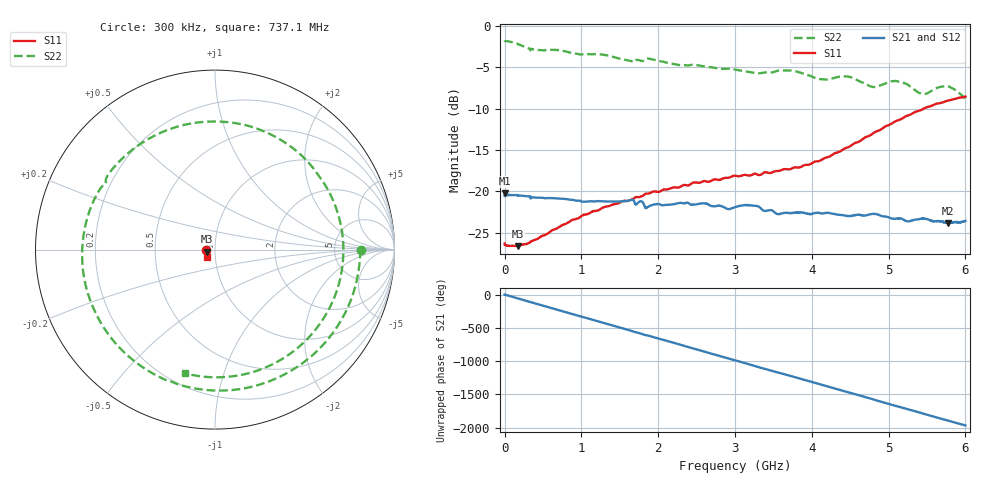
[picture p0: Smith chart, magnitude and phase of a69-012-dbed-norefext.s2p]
!  3/16/2021  20:28:22
! Ref Plane: 0.000 mm
# MHZ S MA R  50
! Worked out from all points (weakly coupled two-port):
!   10001 points, 300 kHz to 6 GHz, reference 50 ohm
!   highest |S21| = -20.24 dB at 300 kHz (marker M1); lowest = -23.8 dB at 5.776 GHz (marker M2)
!   lowest |S11| = -26.6 dB at 173.7 MHz (marker M3), VSWR 1.10, Z = 45.7 - j1.04 ohm
!   |S11| at or under -10 dB: start of sweep to 5.458 GHz
!   |S22| runs from -8.7 to -1.8 dB; largest |S21 - S12| = 0.0018
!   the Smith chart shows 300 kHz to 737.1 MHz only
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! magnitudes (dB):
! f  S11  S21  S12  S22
! 300 kHz  -26.3  -20.2  -20.4  -1.8
! 173.7 MHz  -26.6  -20.5  -20.5  -2.2
! 356.7 MHz  -26.0  -20.7  -20.8  -2.8
! 1 GHz  -23.0  -21.2  -21.2  -3.5
! 1.285 GHz  -21.9  -21.2  -21.2  -3.5
! 1.654 GHz  -21.0  -21.0  -21.1  -4.3
! 1.782 GHz  -20.6  -21.2  -21.2  -4.2
! 1.852 GHz  -20.3  -22.0  -22.0  -4.0
! 2.001 GHz  -20.1  -21.5  -21.5  -4.2
! 3 GHz  -18.1  -21.9  -21.9  -5.3
! 3.265 GHz  -17.9  -21.8  -21.8  -5.7
! 3.555 GHz  -17.5  -22.8  -22.8  -5.4
! 3.732 GHz  -17.3  -22.6  -22.7  -5.4
! 4 GHz  -16.6  -22.7  -22.7  -6.1
! 4.173 GHz  -16.0  -22.6  -22.6  -6.5
! 4.474 GHz  -14.7  -23.0  -23.0  -6.1
! 4.804 GHz  -13.0  -22.7  -22.7  -7.4
! 5 GHz  -12.0  -23.2  -23.2  -6.8
! 5.212 GHz  -11.0  -23.5  -23.5  -6.9
! 5.456 GHz  -10.0  -23.3  -23.3  -8.2
! 5.776 GHz  -9.0  -23.8  -23.9  -7.3
! 6 GHz  -8.6  -23.6  -23.5  -8.7
